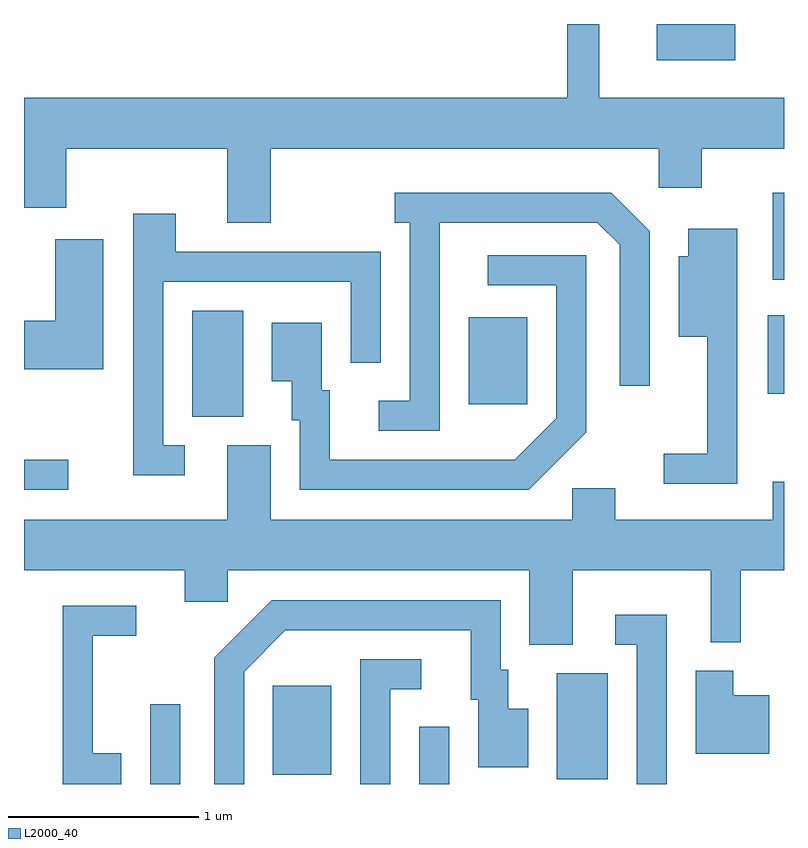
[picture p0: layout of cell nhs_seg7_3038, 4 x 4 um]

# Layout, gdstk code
import gdstk
lib = gdstk.Library(unit=1e-6, precision=1e-09)
def R(c, l, rs):  # rectangles x0, y0, x1, y1
    for r in rs: c.add(gdstk.rectangle(r[:2], r[2:], *l))
def P(c, l, *ps):  # polygons
    for p in ps: c.add(gdstk.Polygon(p, *l))
L2000_40 = (2000, 40)

nhs_seg7_3038 = lib.new_cell('nhs_seg7_3038')
R(nhs_seg7_3038, L2000_40, [(278.276,1764.252,278.434,1764.673), (279.691,1764.252,279.849,1764.553), (280.416,1764.276,280.684,1764.834), (278.921,1764.301,279.229,1764.769), (277.611,1765.801,277.843,1765.959), (278.496,1766.186,278.764,1766.744), (279.951,1766.251,280.259,1766.709), (281.526,1766.306,281.611,1766.719), (281.551,1766.906,281.611,1767.364), (280.941,1768.061,281.354,1768.252)])
P(nhs_seg7_3038, L2000_40, [(278.909,1767.596),(280.951,1767.596),(280.951,1767.391),(281.179,1767.391),(281.179,1767.596),(281.611,1767.596),(281.611,1767.864),(280.639,1767.864),(280.639,1768.252),(280.471,1768.252),(280.471,1767.864),(277.611,1767.864),(277.611,1767.286),(277.834,1767.286),(277.834,1767.596),(278.681,1767.596),(278.681,1767.206),(278.909,1767.206)],
  [(279.799,1767.206),(280.629,1767.206),(280.746,1767.089),(280.746,1766.348),(280.904,1766.348),(280.904,1767.162),(280.702,1767.364),(279.563,1767.364),(279.563,1767.206),(279.641,1767.206),(279.641,1766.269),(279.478,1766.269),(279.478,1766.111),(279.799,1766.111)],
  [(278.458,1766.034),(278.344,1766.034),(278.344,1766.896),(279.331,1766.896),(279.331,1766.468),(279.489,1766.468),(279.489,1767.054),(278.409,1767.054),(278.409,1767.254),(278.186,1767.254),(278.186,1765.876),(278.458,1765.876)],
  [(281.364,1767.174),(281.106,1767.174),(281.106,1767.029),(281.056,1767.029),(281.056,1766.606),(281.206,1766.606),(281.206,1765.989),(280.978,1765.989),(280.978,1765.831),(281.364,1765.831)],
  [(278.029,1767.119),(277.776,1767.119),(277.776,1766.689),(277.611,1766.689),(277.611,1766.436),(278.029,1766.436)],
  [(280.569,1766.104),(280.569,1767.034),(280.053,1767.034),(280.053,1766.876),(280.411,1766.876),(280.411,1766.177),(280.194,1765.959),(279.219,1765.959),(279.219,1766.324),(279.179,1766.324),(279.179,1766.679),(278.916,1766.679),(278.916,1766.371),(279.021,1766.371),(279.021,1766.166),(279.061,1766.166),(279.061,1765.801),(280.267,1765.801)],
  [(280.499,1765.376),(281.226,1765.376),(281.226,1764.998),(281.384,1764.998),(281.384,1765.376),(281.611,1765.376),(281.611,1765.844),(281.551,1765.844),(281.551,1765.644),(280.724,1765.644),(280.724,1765.809),(280.496,1765.809),(280.496,1765.644),(278.909,1765.644),(278.909,1766.034),(278.681,1766.034),(278.681,1765.644),(277.611,1765.644),(277.611,1765.376),(278.456,1765.376),(278.456,1765.211),(278.684,1765.211),(278.684,1765.376),(280.271,1765.376),(280.271,1764.986),(280.499,1764.986)],
  [(278.769,1764.844),(278.987,1765.061),(279.961,1765.061),(279.961,1764.696),(280.001,1764.696),(280.001,1764.341),(280.264,1764.341),(280.264,1764.649),(280.159,1764.649),(280.159,1764.854),(280.119,1764.854),(280.119,1765.219),(278.914,1765.219),(278.611,1764.917),(278.611,1764.252),(278.769,1764.252)],
  [(278.124,1764.414),(277.974,1764.414),(277.974,1765.031),(278.203,1765.031),(278.203,1765.189),(277.816,1765.189),(277.816,1764.252),(278.124,1764.252)],
  [(280.994,1765.144),(280.723,1765.144),(280.723,1764.986),(280.836,1764.986),(280.836,1764.252),(280.994,1764.252)],
  [(279.539,1764.751),(279.703,1764.751),(279.703,1764.909),(279.381,1764.909),(279.381,1764.252),(279.539,1764.252)],
  [(281.534,1764.719),(281.344,1764.719),(281.344,1764.849),(281.146,1764.849),(281.146,1764.411),(281.534,1764.411)])

lib.write_gds('nhs_seg7_3038.gds')
